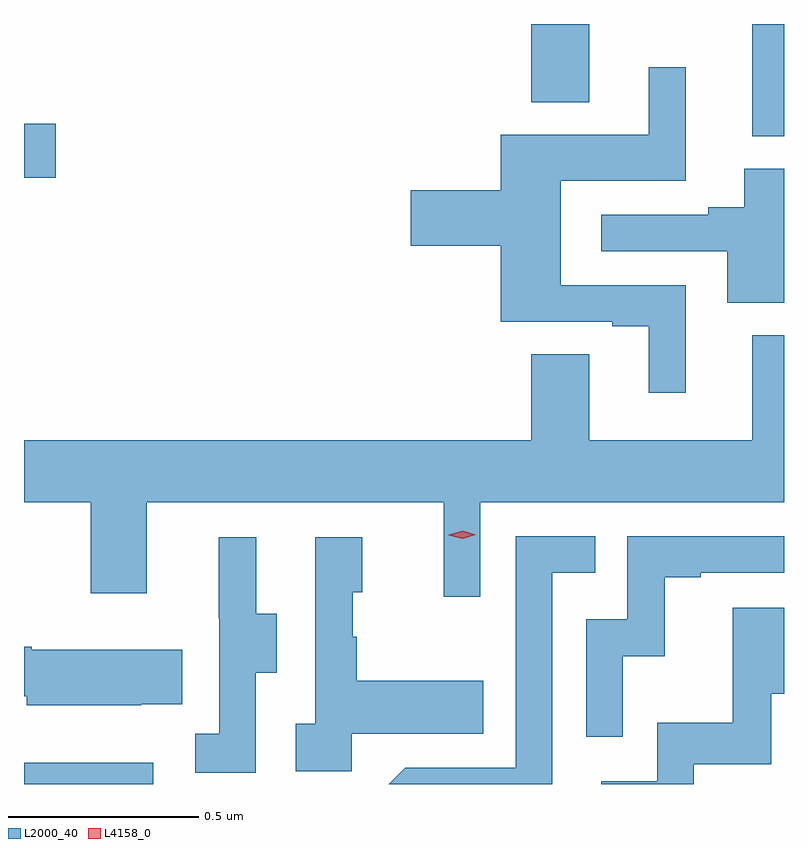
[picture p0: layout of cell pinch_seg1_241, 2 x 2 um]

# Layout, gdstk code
import gdstk
lib = gdstk.Library(unit=1e-6, precision=1e-09)
def R(c, l, rs):  # rectangles x0, y0, x1, y1
    for r in rs: c.add(gdstk.rectangle(r[:2], r[2:], *l))
def P(c, l, *ps):  # polygons
    for p in ps: c.add(gdstk.Polygon(p, *l))
L2000_40 = (2000, 40)
L4158_0 = (4158, 0)

pinch_seg1_241 = lib.new_cell('pinch_seg1_241')
R(pinch_seg1_241, L2000_40, [(935.546,562.979,935.886,563.035), (935.546,564.575,935.629,564.717), (937.463,564.684,937.546,564.979), (936.881,564.773,937.033,564.979)])
P(pinch_seg1_241, L2000_40, [(937.288,564.291),(936.958,564.291),(936.958,564.566),(937.288,564.566),(937.288,564.865),(937.19,564.865),(937.19,564.688),(936.8,564.688),(936.8,564.542),(936.564,564.542),(936.564,564.395),(936.8,564.395),(936.8,564.195),(937.094,564.195),(937.094,564.183),(937.19,564.183),(937.19,564.009),(937.288,564.009)],
  [(937.546,564.598),(937.442,564.598),(937.442,564.497),(937.346,564.497),(937.346,564.477),(937.065,564.477),(937.065,564.381),(937.397,564.381),(937.397,564.245),(937.546,564.245)],
  [(936.747,563.72),(937.546,563.72),(937.546,564.16),(937.463,564.16),(937.463,563.884),(937.033,563.884),(937.033,564.11),(936.881,564.11),(936.881,563.884),(935.546,563.884),(935.546,563.72),(935.722,563.72),(935.722,563.481),(935.869,563.481),(935.869,563.72),(936.65,563.72),(936.65,563.472),(936.747,563.472)],
  [(936.936,563.535),(937.049,563.535),(937.049,563.631),(936.84,563.631),(936.84,563.022),(936.549,563.022),(936.506,562.979),(936.936,562.979)],
  [(937.122,563.315),(937.232,563.315),(937.232,563.523),(937.327,563.523),(937.327,563.535),(937.546,563.535),(937.546,563.631),(937.134,563.631),(937.134,563.412),(937.026,563.412),(937.026,563.103),(937.122,563.103)],
  [(936.156,563.272),(936.211,563.272),(936.211,563.427),(936.157,563.427),(936.157,563.629),(936.059,563.629),(936.059,563.415),(936.06,563.415),(936.06,563.111),(935.997,563.111),(935.997,563.008),(936.156,563.008)],
  [(936.408,563.111),(936.755,563.111),(936.755,563.251),(936.421,563.251),(936.421,563.366),(936.411,563.366),(936.411,563.484),(936.436,563.484),(936.436,563.629),(936.312,563.629),(936.312,563.138),(936.261,563.138),(936.261,563.013),(936.408,563.013)],
  [(937.308,563.031),(937.513,563.031),(937.513,563.217),(937.546,563.217),(937.546,563.443),(937.411,563.443),(937.411,563.14),(937.212,563.14),(937.212,562.986),(937.065,562.986),(937.065,562.979),(937.308,562.979)],
  [(935.855,563.189),(935.963,563.189),(935.963,563.332),(935.566,563.332),(935.566,563.34),(935.546,563.34),(935.546,563.21),(935.553,563.21),(935.553,563.186),(935.855,563.186)])
P(pinch_seg1_241, L4158_0, [(936.7,563.625),(936.664,563.634),(936.664,563.635),(936.664,563.635),(936.7,563.645),(936.735,563.635),(936.735,563.635),(936.735,563.635)])

lib.write_gds('pinch_seg1_241.gds')
